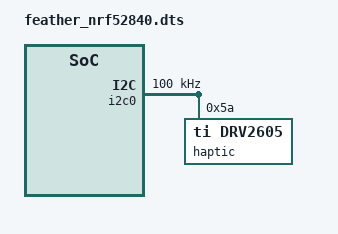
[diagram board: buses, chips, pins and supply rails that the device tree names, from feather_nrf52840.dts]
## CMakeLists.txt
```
cmake_minimum_required(VERSION 3.8.2)
find_package(Zephyr REQUIRED HINTS $ENV{ZEPHYR_BASE})
project(haptic_moto)

target_sources(app PRIVATE src/main.c) # app is defined in zephyr/cmake/app/boilerplate.cmake
```

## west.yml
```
# The west manifest file (west.yml) for the demo application
#
# See the west documentation for more information:
#
# https://developer.nordicsemi.com/nRF_Connect_SDK/doc/latest/zephyr/guides/west/index.html

manifest:
  # This west.yml requires west 0.12s or later, because the "import"
  # feature used below was introduced then.
  version: 0.12

  # "projects" is a list of git repositories which make up the NCS
  # source code.
  projects:
    - name: nrf
      url: https://github.com/nrfconnect/sdk-nrf
      revision: v2.9.0
      import: true

  self:
    # This repository should be cloned to application.
    path: application
```

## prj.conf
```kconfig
# Stacks and heaps
CONFIG_MAIN_STACK_SIZE=3072
CONFIG_HEAP_MEM_POOL_SIZE=16384

CONFIG_BOOTLOADER_MCUBOOT=y

# Logging via RTT
CONFIG_LOG=y
CONFIG_USE_SEGGER_RTT=y
# Tracing via SEGGER SYSTEMVIEW
CONFIG_TRACING=n
CONFIG_SEGGER_SYSTEMVIEW=n

# newlibc
CONFIG_NEWLIB_LIBC=y

CONFIG_NO_OPTIMIZATIONS=y
#CONFIG_DEBUG_OPTIMIZATIONS=y

# Add information for debugging
CONFIG_DEBUG_THREAD_INFO=y

# We want to use the haptic driver
CONFIG_HAPTICS=y

# And the key input
CONFIG_INPUT=y

# Add a shell to change configs during runtime
CONFIG_SHELL=y
CONFIG_SHELL_BACKEND_RTT=y
CONFIG_SHELL_PROMPT_RTT=""
```

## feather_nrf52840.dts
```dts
/*
 * Copyright (c) 2025 Stefan Schmidt
 *
 * SPDX-License-Identifier: Apache-2.0
 */

#include <zephyr/dt-bindings/i2c/i2c.h>

&i2c0 {
	status = "okay";
	clock-frequency = <I2C_BITRATE_STANDARD>;

	haptic: drv2605@5a {
		compatible = "ti,drv2605";
		reg = <0x5a>;
		status = "okay";

		actuator-mode = "LRA";
		loop-gain = "HIGH";
		feedback-brake-factor = "2X";
	};
};
```

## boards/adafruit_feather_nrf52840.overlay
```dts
/*
 * Copyright (c) 2025 Stefan Schmidt
 *
 * SPDX-License-Identifier: Apache-2.0
 */

#include <zephyr/dt-bindings/i2c/i2c.h>

&i2c0 {
	status = "okay";
	clock-frequency = <I2C_BITRATE_STANDARD>;

	haptic: drv2605@5a {
		compatible = "ti,drv2605";
		reg = <0x5a>;
		status = "okay";

		actuator-mode = "ERM";
		loop-gain = "HIGH";
		feedback-brake-factor = "2X";
	};
};
```

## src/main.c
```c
/*
 * Copyright (c) 2024 Cirrus Logic, Inc.
 *
 * SPDX-License-Identifier: Apache-2.0
 */

#include <errno.h>
#include <stdlib.h>
#include <sys/_stdint.h>
#include <zephyr/device.h>
#include <zephyr/devicetree.h>
#include <zephyr/drivers/gpio.h>
#include <zephyr/drivers/haptics.h>
#include <zephyr/drivers/haptics/drv2605.h>
#include <zephyr/input/input.h>
#include <zephyr/kernel.h>
#include <zephyr/logging/log.h>
#include <zephyr/shell/shell.h>
#include <zephyr/sys/atomic.h>
#include <zephyr/sys/util.h>

#define LOG_LEVEL 4

LOG_MODULE_REGISTER(main);

volatile bool m_terminate = false;

static atomic_t m_effect = ATOMIC_INIT(1);
static atomic_t m_library = ATOMIC_INIT(1);

static struct drv2605_rom_data rom_data = {
    .brake_time = 0,
    .overdrive_time = 0,
    .sustain_neg_time = 0,
    .sustain_pos_time = 0,
    .trigger = DRV2605_MODE_INTERNAL_TRIGGER,
    .seq_regs[1] = 50 | 0x80,  // add a 500 ms delay
    .seq_regs[3] = 50 | 0x80   // add a 500 ms delay
};

static void key_press(struct input_event *evt, void *user_data) {
  // Handle INPUT_KEY_0:
  LOG_INF("key event %d", evt->code);
  if (evt->type == INPUT_EV_KEY && evt->code == INPUT_KEY_0 &&
      evt->value == 1) {
    m_terminate = true;
  }
}

INPUT_CALLBACK_DEFINE(NULL, key_press, NULL);

static void check_for_param_update(const struct device *dev,
                                   union drv2605_config_data *config_data) {
  uint8_t effect = atomic_get(&m_effect);
  uint8_t library = atomic_get(&m_library);

  if (effect != rom_data.seq_regs[0] || library != rom_data.library) {
    rom_data.library = library;
    rom_data.seq_regs[0] = effect;
    rom_data.seq_regs[2] = effect;
    rom_data.seq_regs[4] = effect;

    int ret =
        drv2605_haptic_config(dev, DRV2605_HAPTICS_SOURCE_ROM, config_data);
    if (ret < 0) {
      LOG_ERR("Failed to configure ROM event: %d", ret);
    }
  }
}

int main(void) {
  const struct device *dev = DEVICE_DT_GET(DT_NODELABEL(haptic));
  const char *lib_name[6] = {"ERM-A", "ERM-B", "ERM-C",
                             "ERM-D", "ERM-E", "LRA"};
  union drv2605_config_data config_data = {.rom_data = &rom_data};
  int ret;

  if (!dev) {
    LOG_ERR("DRV2605 device not found");
    return -ENODEV;
  } else if (!device_is_ready(dev)) {
    LOG_ERR("DRV2605 device %s is not ready", dev->name);
    return -EIO;
  }

  LOG_INF("Found DRV2605 device %s", dev->name);

  while (m_terminate == false) {
    check_for_param_update(dev, &config_data);

    LOG_INF("Execute effect %d from Library %s!", rom_data.seq_regs[0],
            lib_name[rom_data.library]);

    ret = haptics_start_output(dev);
    if (ret < 0) {
      LOG_ERR("Failed to start ROM event: %d", ret);
      return ret;
    }

    k_sleep(K_SECONDS(3));
  }

  LOG_INF("Input 0 pressed, bye bye");
  return 0;
}

static int cmd_drv2605_set_effect(const struct shell *sh, size_t argc,
                                  char **argv) {
  uint8_t effect = (uint8_t)atoi(argv[1]);

  if (effect >= 1 && effect <= 123) {
    atomic_set(&m_effect, effect);
  } else {
    shell_print(sh, "Effect %s not supported", argv[1]);
  }
  return 0;
}

static int cmd_drv2605_select_library(const struct shell *sh, size_t argc,
                                      char **argv) {
  uint8_t library = (uint8_t)atoi(argv[1]);

  if (library >= 1 && library <= 6) {
    atomic_set(&m_library, library - 1);
  } else {
    shell_print(sh, "Library %s not supported", argv[1]);
  }
  return 0;
}

SHELL_STATIC_SUBCMD_SET_CREATE(drv2605_cmds,
                               SHELL_CMD_ARG(select_library, NULL,
                                             "Select library",
                                             cmd_drv2605_select_library, 2, 0),
                               SHELL_CMD_ARG(set_effect, NULL, "Set effect",
                                             cmd_drv2605_set_effect, 2, 0),
                               SHELL_SUBCMD_SET_END);

SHELL_CMD_ARG_REGISTER(drv2605, &drv2605_cmds, "drv2605 commands", NULL, 1, 1);
```
